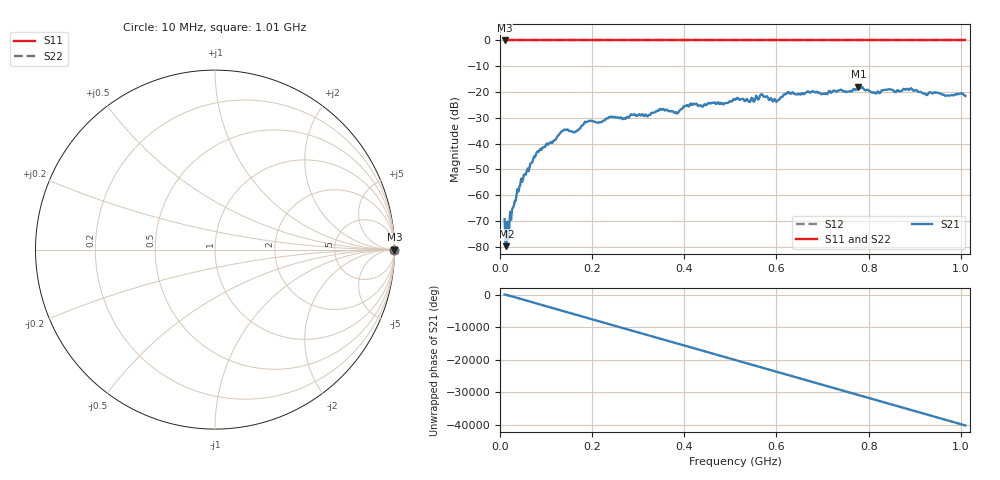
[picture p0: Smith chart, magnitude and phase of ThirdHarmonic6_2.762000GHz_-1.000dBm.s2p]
! 8/17/2025 6:58:39 AM
! C:\ANRITSUVNA\TEMP\TEMP.S2P
! CHANNEL.1
! TR.MEASUREMENT
! RAW.DATA
! RF.CORRECTION.OFF
! AVERAGING.OFF
! IF.BANDWIDTH: 5KHZ
! SWEEPTYPE:  FREQ.SWEEP(Linear)
! Reference Plane Port Info
! PORT:  PORT1  PORT2
! DISTANCE:  0  m  0  m
! TIME:  0  s  0  s
! PHASE.OFFSET:  0  deg.  0  deg.
! LOSS:  0  dB  0  dB
! REF.LOSS:  0  dB  0  dB
! REF.FREQ:  0  Hz  0  Hz
! Power Info
! POWER:  -20  dBm  -20  dBm
! EFF.POWER:  -20  dBm  -20  dBm
! SOURCE.ATTEN:  0  dB  0  dB
! TEST.ATTEN:  0  dB  0  dB
# GHZ S RI R 50.0
! FREQ.GHZ  S11RE  S11IM  S21RE  S21IM  S12RE  S12IM  S22RE  S22IM
!; PortSelection: Port_12
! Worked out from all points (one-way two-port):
!   501 points, 10 MHz to 1.01 GHz, reference 50 ohm
!   highest |S21| = -17.98 dB at 778 MHz (marker M1); lowest = -79.8 dB at 14 MHz (marker M2)
!   lowest |S11| = 0.0 dB at 10 MHz (marker M3)
!   |S11| at or under -10 dB: nowhere
!   |S22| runs from 0.0 to 0.0 dB; largest |S21 - S12| = 1.1
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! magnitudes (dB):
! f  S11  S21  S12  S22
! 10 MHz  0.0  -69.3  0.0  0.0
! 14 MHz  0.0  -79.8  0.0  0.0
! 16 MHz  0.0  -70.2  0.0  0.0
! 26 MHz  0.0  -65.7  0.0  0.0
! 42 MHz  0.0  -56.8  0.0  0.0
! 78 MHz  0.0  -44.2  0.0  0.0
! 136 MHz  0.0  -35.1  0.0  0.0
! 164 MHz  0.0  -35.4  0.0  0.0
! 178 MHz  0.0  -33.0  0.0  0.0
! 344 MHz  0.0  -27.3  0.0  0.0
! 382 MHz  0.0  -27.8  0.0  0.0
! 416 MHz  0.0  -25.0  0.0  0.0
! 510 MHz  0.0  -22.9  0.0  0.0
! 540 MHz  0.0  -23.7  0.0  0.0
! 568 MHz  0.0  -20.9  0.0  0.0
! 602 MHz  0.0  -23.3  0.0  0.0
! 624 MHz  0.0  -20.1  0.0  0.0
! 678 MHz  0.0  -19.6  0.0  0.0
! 778 MHz  0.0  -18.0  0.0  0.0
! 812 MHz  0.0  -20.1  0.0  0.0
! 844 MHz  0.0  -18.9  0.0  0.0
! 1.01 GHz  0.0  -21.5  0.0  0.0
